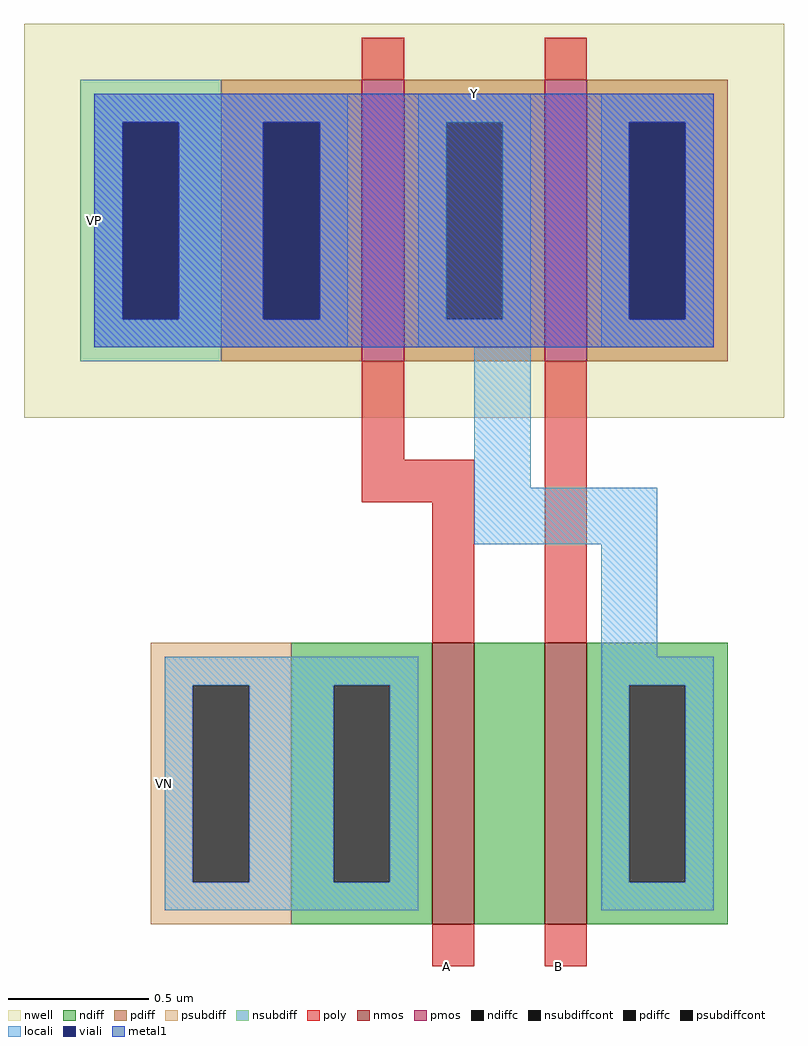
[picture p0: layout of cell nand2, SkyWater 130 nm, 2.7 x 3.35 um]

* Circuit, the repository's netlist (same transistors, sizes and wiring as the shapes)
* SPICE3 file created from nand2.ext - technology: sky130A

*.subckt nand2 A B Y VP VN
X0 VP B Y VP sky130_fd_pr__pfet_01v8 ad=0.5 pd=3 as=0.25 ps=1.5 w=1 l=0.15
X1 a_130_0# A VN VN sky130_fd_pr__nfet_01v8 ad=0.125 pd=1.25 as=0.5 ps=3 w=1 l=0.15
X2 Y A VP VP sky130_fd_pr__pfet_01v8 ad=0.25 pd=1.5 as=0.5 ps=3 w=1 l=0.15
X3 Y B a_130_0# VN sky130_fd_pr__nfet_01v8 ad=0.5 pd=3 as=0.125 ps=1.25 w=1 l=0.15
*.ends

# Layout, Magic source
magic
tech sky130A
<< nwell >>
rect -95 180 175 320
<< nmos >>
rect 50 0 65 100
rect 90 0 105 100
<< pmos >>
rect 25 200 40 300
rect 90 200 105 300
<< ndiff >>
rect 0 85 50 100
rect 0 15 15 85
rect 35 15 50 85
rect 0 0 50 15
rect 65 0 90 100
rect 105 85 155 100
rect 105 15 120 85
rect 140 15 155 85
rect 105 0 155 15
<< pdiff >>
rect -25 285 25 300
rect -25 215 -10 285
rect 10 215 25 285
rect -25 200 25 215
rect 40 285 90 300
rect 40 215 55 285
rect 75 215 90 285
rect 40 200 90 215
rect 105 285 155 300
rect 105 215 120 285
rect 140 215 155 285
rect 105 200 155 215
<< ndiffc >>
rect 15 15 35 85
rect 120 15 140 85
<< pdiffc >>
rect -10 215 10 285
rect 55 215 75 285
rect 120 215 140 285
<< psubdiff >>
rect -50 85 0 100
rect -50 15 -35 85
rect -15 15 0 85
rect -50 0 0 15
<< nsubdiff >>
rect -75 285 -25 300
rect -75 215 -60 285
rect -40 215 -25 285
rect -75 200 -25 215
<< psubdiffcont >>
rect -35 15 -15 85
<< nsubdiffcont >>
rect -60 215 -40 285
<< poly >>
rect 25 300 40 315
rect 90 300 105 315
rect 25 165 40 200
rect 25 150 65 165
rect 50 100 65 150
rect 90 100 105 200
rect 50 -15 65 0
rect 90 -15 105 0
<< locali >>
rect -70 285 20 295
rect -70 215 -60 285
rect -40 215 -10 285
rect 10 215 20 285
rect -70 205 20 215
rect 45 285 85 295
rect 45 215 55 285
rect 75 215 85 285
rect 45 205 85 215
rect 110 285 150 295
rect 110 215 120 285
rect 140 215 150 285
rect 110 205 150 215
rect 65 155 85 205
rect 65 135 130 155
rect 110 95 130 135
rect -45 85 45 95
rect -45 15 -35 85
rect -15 15 15 85
rect 35 15 45 85
rect -45 5 45 15
rect 110 85 150 95
rect 110 15 120 85
rect 140 15 150 85
rect 110 5 150 15
<< viali >>
rect -60 215 -40 285
rect -10 215 10 285
rect 120 215 140 285
<< metal1 >>
rect -70 285 150 295
rect -70 215 -60 285
rect -40 215 -10 285
rect 10 215 120 285
rect 140 215 150 285
rect -70 205 150 215
<< labels >>
flabel poly 55 -15 55 -15 1 FreeSans 160 0 0 0 A
port 1 n
flabel poly 95 -15 95 -15 1 FreeSans 160 0 0 0 B
port 2 n
flabel locali 65 295 65 295 5 FreeSans 160 0 0 0 Y
port 3 s
flabel locali -45 50 -45 50 3 FreeSans 160 0 0 0 VN
port 5 e
flabel locali -70 250 -70 250 3 FreeSans 160 0 0 0 VP
port 4 e
<< end >>
